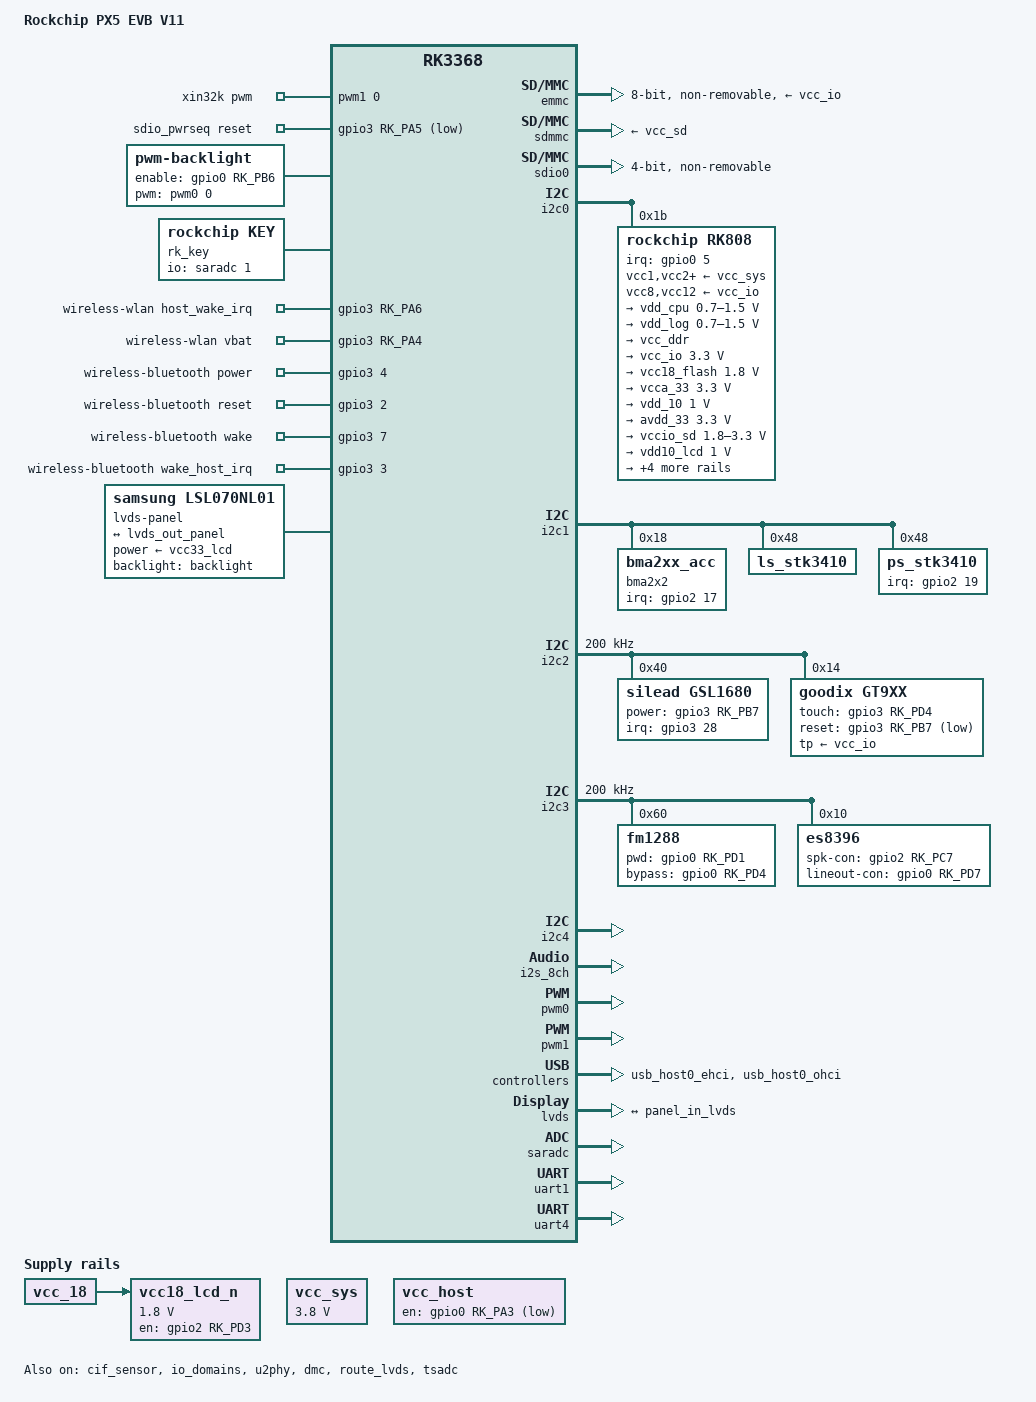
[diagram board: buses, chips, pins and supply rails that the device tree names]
/*
 * Copyright (c) 2017 Fuzhou Rockchip Electronics Co., Ltd
 *
 * This file is dual-licensed: you can use it either under the terms
 * of the GPL or the X11 license, at your option. Note that this dual
 * licensing only applies to this file, and not this project as a
 * whole.
 *
 *  a) This file is free software; you can redistribute it and/or
 *     modify it under the terms of the GNU General Public License as
 *     published by the Free Software Foundation; either version 2 of the
 *     License, or (at your option) any later version.
 *
 *     This file is distributed in the hope that it will be useful,
 *     but WITHOUT ANY WARRANTY; without even the implied warranty of
 *     MERCHANTABILITY or FITNESS FOR A PARTICULAR PURPOSE.  See the
 *     GNU General Public License for more details.
 *
 * Or, alternatively,
 *
 *  b) Permission is hereby granted, free of charge, to any person
 *     obtaining a copy of this software and associated documentation
 *     files (the "Software"), to deal in the Software without
 *     restriction, including without limitation the rights to use,
 *     copy, modify, merge, publish, distribute, sublicense, and/or
 *     sell copies of the Software, and to permit persons to whom the
 *     Software is furnished to do so, subject to the following
 *     conditions:
 *
 *     The above copyright notice and this permission notice shall be
 *     included in all copies or substantial portions of the Software.
 *
 *     THE SOFTWARE IS PROVIDED "AS IS", WITHOUT WARRANTY OF ANY KIND,
 *     EXPRESS OR IMPLIED, INCLUDING BUT NOT LIMITED TO THE WARRANTIES
 *     OF MERCHANTABILITY, FITNESS FOR A PARTICULAR PURPOSE AND
 *     NONINFRINGEMENT. IN NO EVENT SHALL THE AUTHORS OR COPYRIGHT
 *     HOLDERS BE LIABLE FOR ANY CLAIM, DAMAGES OR OTHER LIABILITY,
 *     WHETHER IN AN ACTION OF CONTRACT, TORT OR OTHERWISE, ARISING
 *     FROM, OUT OF OR IN CONNECTION WITH THE SOFTWARE OR THE USE OR
 *     OTHER DEALINGS IN THE SOFTWARE.
 */

/dts-v1/;
#include "rk3368.dtsi"
#include "rk3368-android.dtsi"
#include "rk3368-cif-sensor.dtsi"
#include <dt-bindings/pwm/pwm.h>
#include <dt-bindings/sensor-dev.h>

/ {
	model = "Rockchip PX5 EVB V11";
	compatible = "rockchip,px5-evb", "rockchip,px5", "rockchip,rk3368";

	chosen {
		bootargs = "earlycon=uart8250,mmio32,0xff1c0000";
	};

	fiq_debugger: fiq-debugger {
		compatible = "rockchip,fiq-debugger";
			rockchip,serial-id = <4>;
			rockchip,wake-irq = <0>;
			/* If enable uart uses irq instead of fiq */
			rockchip,irq-mode-enable = <0>;
			/* Only 115200 and 1500000 */
			rockchip,baudrate = <115200>;
			pinctrl-names = "default";
			pinctrl-0 = <&uart4_xfer>;
			interrupts = <GIC_SPI 154 IRQ_TYPE_LEVEL_HIGH 0>;
	};

	firmware {
		android {
			compatible = "android,firmware";
			fstab {
				compatible = "android,fstab";
				system {
					compatible = "android,system";
					dev = "/dev/block/platform/ff0f0000.dwmmc/by-name/system";
					type = "ext4";
					mnt_flags = "ro,barrier=1,inode_readahead_blks=8";
					fsmgr_flags = "wait";
				};
				vendor {
					compatible = "android,vendor";
					dev = "/dev/block/platform/ff0f0000.dwmmc/by-name/vendor";
					type = "ext4";
					mnt_flags = "ro,barrier=1,inode_readahead_blks=8";
					fsmgr_flags = "wait";
				};
			};
		};
	};

	xin32k: xin32k {
		status = "okay";
		compatible = "pwm-clock";
		#clock-cells = <0>;
		clock-frequency = <32768>;
		clock-output-names = "xin32k";
		pwms = <&pwm1 0 30518 0>; /* 1 / 30518 ns = 32.7675 KHz */
	};

	sdio_pwrseq: sdio-pwrseq {
		compatible = "mmc-pwrseq-simple";
		clocks = <&rk808 1>;
		clock-names = "ext_clock";
		pinctrl-names = "default";
		pinctrl-0 = <&wifi_enable_h>;

		/*
		 * On the module itself this is one of these (depending
		 * on the actual card populated):
		 * - SDIO_RESET_L_WL_REG_ON
		 * - PDN (power down when low)
		 */
		reset-gpios = <&gpio3 RK_PA5 GPIO_ACTIVE_LOW>; /* GPIO3_A5 */
	};

	es8396-sound {
		compatible = "simple-audio-card";
		simple-audio-card,format = "i2s";
		simple-audio-card,name = "rockchip,es8396-codec";
		simple-audio-card,mclk-fs = <256>;
		simple-audio-card,widgets =
			"Microphone", "Microphone Jack",
			"Line", "Microphone Headset",
			"Headphone", "Headphone Jack";
		simple-audio-card,routing =
			"MIC", "Microphone Jack",
			"DMIC", "Microphone Headset",
			"Headphone Jack", "LOUTP",
			"Headphone Jack", "ROUTN";
		simple-audio-card,cpu {
			sound-dai = <&i2s_8ch>;
		};
		simple-audio-card,codec {
			sound-dai = <&es8396>;
		};
	};

	backlight: backlight {
		compatible = "pwm-backlight";
		pwms = <&pwm0 0 25000 0>;
		brightness-levels = <
			  0   1   2   3   4   5   6   7
			  8   9  10  11  12  13  14  15
			 16  17  18  19  20  21  22  23
			 24  25  26  27  28  29  30  31
			 32  33  34  35  36  37  38  39
			 40  41  42  43  44  45  46  47
			 48  49  50  51  52  53  54  55
			 56  57  58  59  60  61  62  63
			 64  65  66  67  68  69  70  71
			 72  73  74  75  76  77  78  79
			 80  81  82  83  84  85  86  87
			 88  89  90  91  92  93  94  95
			 96  97  98  99 100 101 102 103
			104 105 106 107 108 109 110 111
			112 113 114 115 116 117 118 119
			120 121 122 123 124 125 126 127
			128 129 130 131 132 133 134 135
			136 137 138 139 140 141 142 143
			144 145 146 147 148 149 150 151
			152 153 154 155 156 157 158 159
			160 161 162 163 164 165 166 167
			168 169 170 171 172 173 174 175
			176 177 178 179 180 181 182 183
			184 185 186 187 188 189 190 191
			192 193 194 195 196 197 198 199
			200 201 202 203 204 205 206 207
			208 209 210 211 212 213 214 215
			216 217 218 219 220 221 222 223
			224 225 226 227 228 229 230 231
			232 233 234 235 236 237 238 239
			240 241 242 243 244 245 246 247
			248 249 250 251 252 253 254 255>;
		default-brightness-level = <200>;
		enable-gpios = <&gpio0 RK_PB6 GPIO_ACTIVE_HIGH>;
	};

	rk_key: rockchip-key {
		compatible = "rockchip,key";
		status = "okay";

		io-channels = <&saradc 1>;

		vol-up-key {
			linux,code = <115>;
			label = "volume up";
			rockchip,adc_value = <1>;
		};

		vol-down-key {
			linux,code = <114>;
			label = "volume down";
			rockchip,adc_value = <170>;
		};

		power-key {
			gpios = <&gpio0 RK_PA2 GPIO_ACTIVE_LOW>;
			linux,code = <116>;
			label = "power";
			gpio-key,wakeup;
		};

		menu-key {
			linux,code = <59>;
			label = "menu";
			rockchip,adc_value = <355>;
		};

		home-key {
			linux,code = <102>;
			label = "home";
			rockchip,adc_value = <746>;
		};

		back-key {
			linux,code = <158>;
			label = "back";
			rockchip,adc_value = <560>;
		};

		camera-key {
			linux,code = <212>;
			label = "camera";
			rockchip,adc_value = <450>;
		};
	};

	wireless-wlan {
		compatible = "wlan-platdata";

		wifi_chip_type = "rtl8723ds";
		sdio_vref = <1800>; /*1800mv or 3300mv*/
		WIFI,host_wake_irq = <&gpio3 RK_PA6 GPIO_ACTIVE_HIGH>;
		WIFI,vbat_gpio  = <&gpio3 RK_PA4 GPIO_ACTIVE_HIGH>;
		status = "okay";
	};

	wireless-bluetooth {
		compatible = "bluetooth-platdata";

		keep_bt_power_on;
		BT,power_gpio = <&gpio3 4 GPIO_ACTIVE_HIGH>; /* GPIO3_A4 */
		BT,reset_gpio = <&gpio3 2 GPIO_ACTIVE_HIGH>; /* GPIO3_A2 */
		BT,wake_gpio = <&gpio3 7 GPIO_ACTIVE_HIGH>; /* GPIO3_A7 */
		BT,wake_host_irq = <&gpio3 3 GPIO_ACTIVE_HIGH>; /* GPIO3_A3 */

		status = "okay";
	};

	vcc_sys: vcc-sys-regulator {
		compatible = "regulator-fixed";
		regulator-name = "vcc_sys";
		regulator-always-on;
		regulator-boot-on;
		regulator-min-microvolt = <3800000>;
		regulator-max-microvolt = <3800000>;
	};

	vcc_host: vcc-host {
		compatible = "regulator-fixed";
		enable-active-low;
		gpio = <&gpio0 RK_PA3 GPIO_ACTIVE_LOW>;
		pinctrl-names = "default";
		pinctrl-0 = <&host_vbus_drv>;
		regulator-name = "vcc_host";
		regulator-always-on;
	};

	vcc18_lcd_n: vcc18-lcd-n {
		compatible = "regulator-fixed";
		regulator-name = "vcc18_lcd_n";
		regulator-always-on;
		regulator-boot-on;
		regulator-min-microvolt = <1800000>;
		regulator-max-microvolt = <1800000>;
		gpio = <&gpio2 RK_PD3 GPIO_ACTIVE_HIGH>;
		enable-active-high;
		startup-delay-us = <70000>;
		vin-supply = <&vcc_18>;

		regulator-state-mem {
			regulator-off-in-suspend;
		};
	};

	lvds-panel {
		compatible = "samsung,lsl070nl01", "simple-panel";
		power-supply = <&vcc33_lcd>;
		backlight = <&backlight>;

		rockchip,data-mapping = "vesa";
		rockchip,data-width = <24>;
		rockchip,output = "lvds";
		status = "okay";

		display-timings {
			timing {
				clock-frequency = <48000000>;
				hactive = <1024>;
				vactive = <600>;
				hback-porch = <90>;
				hfront-porch = <90>;
				vback-porch = <10>;
				vfront-porch = <10>;
				hsync-len = <90>;
				vsync-len = <10>;
				hsync-active = <0>;
				vsync-active = <0>;
				de-active = <0>;
				pixelclk-active = <0>;
			};
		};

		port {
			panel_in_lvds: endpoint {
				remote-endpoint = <&lvds_out_panel>;
			};
		};
	};

	edp-panel {
		compatible = "lg,lp079qx1-sp0v", "simple-panel";
		power-supply = <&vcc33_lcd>;
		backlight = <&backlight>;
		prepare-delay-ms = <120>;
		status = "disabled";

		display-timings {
			timing {
				clock-frequency = <200000000>;
				hactive = <1536>;
				vactive = <2048>;
				hback-porch = <48>;
				hfront-porch = <12>;
				hsync-len = <16>;
				vback-porch = <8>;
				vfront-porch = <8>;
				vsync-len = <4>;
				hsync-active = <0>;
				vsync-active = <0>;
				de-active = <0>;
				pixelclk-active = <0>;
			};
		};

		port {
			panel_in_edp: endpoint {
				remote-endpoint = <&edp_out_panel>;
			};
		};
	};
};

&cif_sensor {
	status = "okay";
};

&cluster0_opp {
	rockchip,threshold-freq = <408000>;
	rockchip,freq-limit;
};

&cluster1_opp {
	rockchip,threshold-freq = <1416000>;
};

&cpu_l0 {
	cpu-supply = <&vdd_cpu>;
};

&cpu_l1 {
	cpu-supply = <&vdd_cpu>;
};

&cpu_l2 {
	cpu-supply = <&vdd_cpu>;
};

&cpu_l3 {
	cpu-supply = <&vdd_cpu>;
};

&cpu_b0 {
	cpu-supply = <&vdd_cpu>;
};

&cpu_b1 {
	cpu-supply = <&vdd_cpu>;
};

&cpu_b2 {
	cpu-supply = <&vdd_cpu>;
};

&cpu_b3 {
	cpu-supply = <&vdd_cpu>;
};

&gpu {
	logic-supply = <&vdd_log>;
};

&isp {
	pinctrl-names =
		"isp_mipi_fl_prefl", "isp_flash_as_gpio",
		"isp_flash_as_trigger_out";
	pinctrl-0 = <&isp_prelight>;
	pinctrl-1 = <&isp_flash_trigger_as_gpio>;
	pinctrl-2 = <&isp_flash_trigger>;
};

&rockchip_suspend {
	status = "okay";
	rockchip,sleep-mode-config = <
		(0
		| RKPM_SLP_ARMOFF
		| RKPM_SLP_PMU_PLLS_PWRDN
		| RKPM_SLP_PMU_PMUALIVE_32K
		| RKPM_SLP_SFT_PLLS_DEEP
		| RKPM_SLP_PMU_DIS_OSC
		| RKPM_SLP_SFT_PD_NBSCUS
		)
	>;
	rockchip,wakeup-config = <
		(0
		| RKPM_GPIO_WKUP_EN
		| RKPM_USB_WKUP_EN
		| RKPM_CLUSTER_L_WKUP_EN
		)
	>;
};

&emmc {
	status = "okay";
	bus-width = <8>;
	clock-frequency = <150000000>;
	keep-power-in-suspend;
	cap-mmc-highspeed;
	mmc-hs200-1_8v;
	supports-emmc;
	disable-wp;
	non-removable;
	num-slots = <1>;
	pinctrl-names = "default";
	pinctrl-0 = <&emmc_clk &emmc_cmd &emmc_bus8>;
	vmmc-supply = <&vcc_io>;
	vqmmc-supply = <&vcc18_flash>;
};

&sdmmc {
	status = "okay";
	clock-frequency = <37500000>;
	clock-freq-min-max = <400000 37500000>;
	supports-sd;
	cap-mmc-highspeed;
	cap-sd-highspeed;
	card-detect-delay = <200>;
	disable-wp;
	num-slots = <1>;
	pinctrl-names = "default";
	pinctrl-0 = <&sdmmc_clk &sdmmc_cmd &sdmmc_cd &sdmmc_bus4>;
	vmmc-supply = <&vcc_sd>;
	vqmmc-supply = <&vccio_sd>;
};

&sdio0 {
	status = "okay";
	clock-frequency = <50000000>;
	clock-freq-min-max = <200000 50000000>;
	supports-sdio;
	bus-width = <4>;
	disable-wp;
	cap-sd-highspeed;
	cap-sdio-irq;
	keep-power-in-suspend;
	mmc-pwrseq = <&sdio_pwrseq>;
	non-removable;
	num-slots = <1>;
	pinctrl-names = "default";
	pinctrl-0 = <&sdio0_bus4 &sdio0_cmd &sdio0_clk>;
	sd-uhs-sdr104;
};

&i2c0 {
	status = "okay";

	rk808: pmic@1b {
		compatible = "rockchip,rk808";
		reg = <0x1b>;
		interrupt-parent = <&gpio0>;
		interrupts = <5 IRQ_TYPE_LEVEL_LOW>;
		pinctrl-names = "default";
		pinctrl-0 = <&pmic_int>;
		rockchip,system-power-controller;
		wakeup-source;
		#clock-cells = <1>;
		clock-output-names = "rk808-clkout1", "rk808-clkout2";

		vcc1-supply = <&vcc_sys>;
		vcc2-supply = <&vcc_sys>;
		vcc3-supply = <&vcc_sys>;
		vcc4-supply = <&vcc_sys>;
		vcc6-supply = <&vcc_sys>;
		vcc7-supply = <&vcc_sys>;
		vcc8-supply = <&vcc_io>;
		vcc9-supply = <&vcc_sys>;
		vcc10-supply = <&vcc_sys>;
		vcc11-supply = <&vcc_sys>;
		vcc12-supply = <&vcc_io>;

		regulators {
			vdd_cpu: DCDC_REG1 {
				regulator-always-on;
				regulator-boot-on;
				regulator-min-microvolt = <700000>;
				regulator-max-microvolt = <1500000>;
				regulator-name = "vdd_cpu";
				regulator-ramp-delay = <6000>;
				regulator-state-mem {
					regulator-off-in-suspend;
				};
			};

			vdd_log: DCDC_REG2 {
				regulator-always-on;
				regulator-boot-on;
				regulator-min-microvolt = <700000>;
				regulator-max-microvolt = <1500000>;
				regulator-name = "vdd_log";
				regulator-ramp-delay = <6000>;
				regulator-state-mem {
					regulator-on-in-suspend;
					regulator-suspend-microvolt = <1000000>;
				};
			};

			vcc_ddr: DCDC_REG3 {
				regulator-always-on;
				regulator-boot-on;
				regulator-name = "vcc_ddr";
				regulator-state-mem {
					regulator-on-in-suspend;
				};
			};

			vcc_io: DCDC_REG4 {
				regulator-always-on;
				regulator-boot-on;
				regulator-min-microvolt = <3300000>;
				regulator-max-microvolt = <3300000>;
				regulator-name = "vcc_io";
				regulator-state-mem {
					regulator-on-in-suspend;
					regulator-suspend-microvolt = <3300000>;
				};
			};

			vcc18_flash: LDO_REG1 {
				regulator-always-on;
				regulator-boot-on;
				regulator-min-microvolt = <1800000>;
				regulator-max-microvolt = <1800000>;
				regulator-name = "vcc18_flash";
				regulator-state-mem {
					regulator-on-in-suspend;
					regulator-suspend-microvolt = <1800000>;
				};
			};

			vcca_33: LDO_REG2 {
				regulator-always-on;
				regulator-boot-on;
				regulator-min-microvolt = <3300000>;
				regulator-max-microvolt = <3300000>;
				regulator-name = "vcca_33";
				regulator-state-mem {
					regulator-off-in-suspend;
				};
			};

			vdd_10: LDO_REG3 {
				regulator-always-on;
				regulator-boot-on;
				regulator-min-microvolt = <1000000>;
				regulator-max-microvolt = <1000000>;
				regulator-name = "vdd_10";
				regulator-state-mem {
					regulator-on-in-suspend;
					regulator-suspend-microvolt = <1000000>;
				};
			};

			avdd_33: LDO_REG4 {
				regulator-always-on;
				regulator-boot-on;
				regulator-min-microvolt = <3300000>;
				regulator-max-microvolt = <3300000>;
				regulator-name = "avdd_33";
				regulator-state-mem {
					regulator-off-in-suspend;
				};
			};

			vccio_sd: LDO_REG5 {
				regulator-always-on;
				regulator-boot-on;
				regulator-min-microvolt = <1800000>;
				regulator-max-microvolt = <3300000>;
				regulator-name = "vccio_sd";
				regulator-state-mem {
					regulator-on-in-suspend;
					regulator-suspend-microvolt = <3300000>;
				};
			};

			vdd10_lcd: LDO_REG6 {
				regulator-always-on;
				regulator-boot-on;
				regulator-min-microvolt = <1000000>;
				regulator-max-microvolt = <1000000>;
				regulator-name = "vdd10_lcd";
				regulator-state-mem {
					regulator-off-in-suspend;
				};
			};

			vcc_18: LDO_REG7 {
				regulator-always-on;
				regulator-boot-on;
				regulator-min-microvolt = <1800000>;
				regulator-max-microvolt = <1800000>;
				regulator-name = "vcc_18";
				regulator-state-mem {
					regulator-off-in-suspend;
				};
			};

			vcc18_lcd: LDO_REG8 {
				regulator-always-on;
				regulator-boot-on;
				regulator-min-microvolt = <1800000>;
				regulator-max-microvolt = <1800000>;
				regulator-name = "vcc18_lcd";
				regulator-state-mem {
					regulator-off-in-suspend;
				};
			};

			vcc_sd: SWITCH_REG1 {
				regulator-boot-on;
				regulator-name = "vcc_sd";
				regulator-state-mem {
					regulator-off-in-suspend;
				};
			};

			vcc33_lcd: SWITCH_REG2 {
				regulator-boot-on;
				regulator-name = "vcc33_lcd";
				regulator-min-microvolt = <3300000>;
				regulator-max-microvolt = <3300000>;
				regulator-state-mem {
					regulator-off-in-suspend;
				};
			};
		};
	};
};

&i2c1 {
	status = "okay";

	bma2x2: bma250@18 {
		compatible = "bma2xx_acc";
		status = "okay";
		reg = <0x18>;
		type = <SENSOR_TYPE_ACCEL>;
		pinctrl-names = "default";
		pinctrl-0 = <&gpio2_c1>;
		irq-gpio = <&gpio2 17 IRQ_TYPE_LEVEL_LOW>;
		irq_enable = <1>;
		poll_delay_ms = <200>;
		layout = <6>;
		reprobe_en = <1>;/* this sensor need to be probe again */
	};

	ls_stk3410: light@48 {
		compatible = "ls_stk3410";
		status = "okay";
		reg = <0x48>;
		type = <SENSOR_TYPE_LIGHT>;
		irq_enable = <0>;
		als_threshold_high = <100>;
		als_threshold_low = <10>;
		als_ctrl_gain = <2>; /* 0:x1 1:x4 2:x16 3:x64 */
		poll_delay_ms = <100>;
	};

	ps_stk3410: proximity@48 {
		compatible = "ps_stk3410";
		status = "okay";
		reg = <0x48>;
		type = <SENSOR_TYPE_PROXIMITY>;
		pinctrl-names = "default";
		pinctrl-0 = <&gpio2_c3>;
		irq-gpio = <&gpio2 19 IRQ_TYPE_LEVEL_LOW>;
		irq_enable = <1>;
		ps_threshold_high = <0x200>;
		ps_threshold_low = <0x100>;
		ps_ctrl_gain = <3>; /* 0:x1 1:x4 2:x16 3:x64 */
		ps_led_current = <3>; /* 0:12.5mA 1:25mA 2:50mA 3:100mA */
		poll_delay_ms = <100>;
	};
};

&i2c2 {
	status = "okay";
	clock-frequency = <200000>;

	gsl1680: touchscreen@40 {
		compatible = "silead,gsl1680";
		reg = <0x40>;
		interrupt-parent = <&gpio3>;
		interrupts = <28 IRQ_TYPE_EDGE_FALLING>;
		power-gpios = <&gpio3 RK_PB7 GPIO_ACTIVE_HIGH>;
		touchscreen-size-x = <800>;
		touchscreen-size-y = <1280>;
		silead,max-fingers = <5>;
	};

	gt9xx: gt9xx@14 {
		compatible = "goodix,gt9xx";
		reg = <0x14>;
		touch-gpio = <&gpio3 RK_PD4 IRQ_TYPE_LEVEL_HIGH>;
		reset-gpio = <&gpio3 RK_PB7 GPIO_ACTIVE_LOW>;
		max-x = <1024>;
		max-y = <600>;
		tp-size = <910>;
		tp-supply = <&vcc_io>;
		status = "okay";
	};
};

&i2c3 {
	status = "okay";
	clock-frequency = <200000>;

	fm1288: fm1288@60{
		compatible = "fm1288";
		reg = <0x60>;
		pwd-gpios = <&gpio0 RK_PD1 GPIO_ACTIVE_HIGH>;
		bypass-gpios = <&gpio0 RK_PD4 GPIO_ACTIVE_HIGH>;
		status = "okay";
	};

	es8396: es8396@10 {
		status = "okay";
		#sound-dai-cells = <0>;
		compatible = "es8396";
		reg = <0x10>;
		clocks = <&cru SCLK_I2S_8CH_OUT>;
		clock-names = "mclk";
		spk-con-gpio = <&gpio2 RK_PC7 GPIO_ACTIVE_HIGH>;
		lineout-con-gpio = <&gpio0 RK_PD7 GPIO_ACTIVE_HIGH>;
		pinctrl-names = "default";
		pinctrl-0 = <&i2s_8ch_mclk>;
	};
};

&i2c4 {
	status = "okay";
};

&i2s_8ch {
	status = "okay";
	rockchip,i2s-broken-burst-len;
	rockchip,playback-channels = <8>;
	rockchip,capture-channels = <2>;
	#sound-dai-cells = <0>;
	pinctrl-names = "default";
	pinctrl-0 = <&i2s_8ch_bus>;
};

&io_domains {
	status = "okay";
	dvp-supply = <&vcc_18>;
	audio-supply = <&vcc_io>;
	gpio30-supply = <&vcc_io>;
	gpio1830-supply = <&vcc_io>;
	sdcard-supply = <&vccio_sd>;
	wifi-supply = <&vcc_io>;
};

&pmu_io_domains {
	status = "okay";
	pmu-supply = <&vcc_io>;
	vop-supply = <&vcca_33>;
};

&pwm0 {
	status = "okay";
};

&pwm1 {
	status = "okay";
};

&u2phy {
	status = "okay";

	u2phy_host: host-port {
		phy-supply = <&vcc_host>;
		status = "okay";
	};
};

&usb_host0_ehci {
	status = "okay";
};

&usb_host0_ohci {
	status = "okay";
};

&dmc {
	vop-dclk-mode = <1>;
	center-supply = <&vdd_log>;
	status = "okay";
};

&dwc_control_usb {
	otg_drv_gpio = <&gpio0 RK_PA4 GPIO_ACTIVE_LOW>;
};

&dsi {
	status = "disabled";

	panel@0 {
		compatible = "kingdisplay,kd080d34-40ni-b6", "simple-panel-dsi";
		reg = <0>;
		power-supply = <&vcc33_lcd>;
		backlight = <&backlight>;
		reset-gpios = <&gpio3 RK_PB5 GPIO_ACTIVE_LOW>;
		prepare-delay-ms = <20>;
		reset-delay-ms = <20>;
		init-delay-ms = <20>;
		enable-delay-ms = <20>;
		disable-delay-ms = <20>;
		unprepare-delay-ms = <20>;

		dsi,flags = <(MIPI_DSI_MODE_VIDEO | MIPI_DSI_MODE_VIDEO_BURST |
			      MIPI_DSI_MODE_LPM | MIPI_DSI_MODE_EOT_PACKET)>;
		dsi,format = <MIPI_DSI_FMT_RGB888>;
		dsi,lanes = <4>;

		panel-init-sequence = [
			15 00 02 e0 00
			15 00 02 e1 93
			15 00 02 e2 65
			15 00 02 e3 f8
			15 00 02 80 03
			15 00 02 e0 04
			15 00 02 2d 03
			15 00 02 e0 01
			15 00 02 00 00
			15 00 02 01 6f
			15 00 02 03 00
			15 00 02 04 6f
			15 00 02 17 00
			15 00 02 18 d7
			15 00 02 19 05
			15 00 02 1a 00
			15 00 02 1b d7
			15 00 02 1c 05
			15 00 02 1f 79
			15 00 02 20 2d
			15 00 02 21 2d
			15 00 02 22 4f
			15 00 02 26 f1
			15 00 02 37 09
			15 00 02 38 04
			15 00 02 39 08
			15 00 02 3a 12
			15 00 02 3c 78
			15 00 02 3e 80
			15 00 02 3f 80
			15 00 02 40 06
			15 00 02 41 a0
			15 00 02 55 0f
			15 00 02 56 01
			15 00 02 57 a8
			15 00 02 58 0a
			15 00 02 59 2a
			15 00 02 5a 37
			15 00 02 5b 19
			15 00 02 5d 70
			15 00 02 5e 50
			15 00 02 5f 3f
			15 00 02 60 31
			15 00 02 61 2d
			15 00 02 62 1d
			15 00 02 63 22
			15 00 02 64 0c
			15 00 02 65 25
			15 00 02 66 24
			15 00 02 67 24
			15 00 02 68 41
			15 00 02 69 2f
			15 00 02 6a 36
			15 00 02 6b 28
			15 00 02 6c 26
			15 00 02 6d 1c
			15 00 02 6e 08
			15 00 02 6f 02
			15 00 02 70 70
			15 00 02 71 50
			15 00 02 72 3f
			15 00 02 73 31
			15 00 02 74 2d
			15 00 02 75 1d
			15 00 02 76 22
			15 00 02 77 0c
			15 00 02 78 25
			15 00 02 79 24
			15 00 02 7a 24
			15 00 02 7b 41
			15 00 02 7c 2f
			15 00 02 7d 36
			15 00 02 7e 28
			15 00 02 7f 26
			15 00 02 80 1c
			15 00 02 81 08
			15 00 02 82 02
			15 00 02 e0 02
			15 00 02 00 00
			15 00 02 01 04
			15 00 02 02 06
			15 00 02 03 08
			15 00 02 04 0a
			15 00 02 05 0c
			15 00 02 06 0e
			15 00 02 07 17
			15 00 02 08 37
			15 00 02 09 1f
			15 00 02 0a 10
			15 00 02 0b 1f
			15 00 02 0c 1f
			15 00 02 0d 1f
			15 00 02 0e 1f
			15 00 02 0f 1f
			15 00 02 10 1f
			15 00 02 11 1f
			15 00 02 12 1f
			15 00 02 13 12
			15 00 02 14 1f
			15 00 02 15 1f
			15 00 02 16 01
			15 00 02 17 05
			15 00 02 18 07
			15 00 02 19 09
			15 00 02 1a 0b
			15 00 02 1b 0d
			15 00 02 1c 0f
			15 00 02 1d 17
			15 00 02 1e 37
			15 00 02 1f 1f
			15 00 02 20 11
			15 00 02 21 1f
			15 00 02 22 1f
			15 00 02 23 1f
			15 00 02 24 1f
			15 00 02 25 1f
			15 00 02 26 1f
			15 00 02 27 1f
			15 00 02 28 1f
			15 00 02 29 13
			15 00 02 2a 1f
			15 00 02 2b 1f
			15 00 02 2c 11
			15 00 02 2d 0f
			15 00 02 2e 00
			15 00 02 2f 0b
			15 00 02 30 09
			15 00 02 31 07
			15 00 02 32 05
			15 00 02 33 37
			15 00 02 34 17
			15 00 02 35 1f
			15 00 02 36 01
			15 00 02 37 1f
			15 00 02 38 1f
			15 00 02 39 1f
			15 00 02 3a 1f
			15 00 02 3b 1f
			15 00 02 3c 1f
			15 00 02 3d 1f
			15 00 02 3e 1f
			15 00 02 3f 13
			15 00 02 40 1f
			15 00 02 41 1f
			15 00 02 42 10
			15 00 02 43 0e
			15 00 02 44 0c
			15 00 02 45 0a
			15 00 02 46 08
			15 00 02 47 06
			15 00 02 48 04
			15 00 02 49 37
			15 00 02 4a 17
			15 00 02 4b 1f
			15 00 02 4c 00
			15 00 02 4d 1f
			15 00 02 4e 1f
			15 00 02 4f 1f
			15 00 02 50 1f
			15 00 02 51 1f
			15 00 02 52 1f
			15 00 02 53 1f
			15 00 02 54 1f
			15 00 02 55 12
			15 00 02 56 1f
			15 00 02 57 1f
			15 00 02 58 10
			15 00 02 59 00
			15 00 02 5a 00
			15 00 02 5b 10
			15 00 02 5c 07
			15 00 02 5d 30
			15 00 02 5e 00
			15 00 02 5f 00
			15 00 02 60 30
			15 00 02 61 03
			15 00 02 62 04
			15 00 02 63 03
			15 00 02 64 6a
			15 00 02 65 75
			15 00 02 66 0d
			15 00 02 67 b3
			15 00 02 68 09
			15 00 02 69 06
			15 00 02 6a 6a
			15 00 02 6b 04
			15 00 02 6c 00
			15 00 02 6d 04
			15 00 02 6e 04
			15 00 02 6f 88
			15 00 02 70 00
			15 00 02 71 00
			15 00 02 72 06
			15 00 02 73 7b
			15 00 02 74 00
			15 00 02 75 bc
			15 00 02 76 00
			15 00 02 77 0d
			15 00 02 78 2c
			15 00 02 79 00
			15 00 02 7a 00
			15 00 02 7b 00
			15 00 02 7c 00
			15 00 02 7d 03
			15 00 02 7e 7b
			15 00 02 e0 04
			15 00 02 2b 2b
			15 00 02 2e 44
			15 00 02 e0 00
			15 00 02 e6 02
			15 00 02 e7 02
			05 78 01 11
			05 14 01 29
		];

		panel-exit-sequence = [
			05 00 01 28
			05 78 01 10
		];

		display-timings {
			timing {
				clock-frequency = <74000000>;
				hactive = <800>;
				hfront-porch = <68>;
				hsync-len = <18>;
				hback-porch = <68>;
				vactive = <1280>;
				vfront-porch = <20>;
				vsync-len = <4>;
				vback-porch = <10>;
				hsync-active = <0>;
				vsync-active = <0>;
				de-active = <0>;
				pixelclk-active = <0>;
			};
		};
	};
};

&mipi_dphy {
	status = "disabled";
};

&route_dsi {
	status = "disabled";
};

&lvds {
	status = "okay";

	ports {
		port@1 {
			reg = <1>;

			lvds_out_panel: endpoint {
				remote-endpoint = <&panel_in_lvds>;
			};
		};
	};
};

&route_lvds {
	status = "okay";
};

&edp {
	force-hpd;
	status = "disabled";

	ports {
		port@1 {
			reg = <1>;

			edp_out_panel: endpoint {
				remote-endpoint = <&panel_in_edp>;
			};
		};
	};
};

&edp_phy {
	status = "disabled";
};

&route_edp {
	status = "disabled";
};

&mailbox {
	status = "okay";
};

&mailbox_scpi {
	status = "okay";
};

&saradc {
	status = "okay";
};

&thermal_zones {
	status = "okay";
};

&tsadc {
	tsadc-supply = <&vdd_cpu>;
	status = "okay";
};

&uart1 {
	pinctrl-names = "default";
	pinctrl-0 = <&uart1_xfer &uart1_cts>;
	status = "okay";
};

&uart2 {
	status = "disabled";
};

&uart4 {
	status = "okay";
};

&pinctrl {
	pmic {
		pmic_int: pmic-int {
			rockchip,pins = <RK_GPIO0 RK_PA5 RK_FUNC_GPIO &pcfg_pull_up>;
		};
	};

	dc_det {
		dc_irq_gpio: dc-irq-gpio {
			rockchip,pins = <RK_GPIO0 RK_PC1 RK_FUNC_GPIO &pcfg_pull_up>;
		};
	};

	sdio-pwrseq {
		wifi_enable_h: wifi-enable-h {
			rockchip,pins = <RK_GPIO3 RK_PA5 RK_FUNC_GPIO &pcfg_pull_none>;
		};
	};

	usb2 {
		host_vbus_drv: host-vbus-drv {
			rockchip,pins = <RK_GPIO0 RK_PA3 RK_FUNC_GPIO &pcfg_pull_none>;
		};
	};

	wireless-bluetooth {
		uart0_rts_gpio: uart0-rts-gpio {
			rockchip,pins = <RK_GPIO2 RK_PD3 RK_FUNC_GPIO &pcfg_pull_none>;
		};
	};

	gpio0_gpio {
		gpio0_c7: gpio0-c7 {
			rockchip,pins = <0 RK_PC7 RK_FUNC_GPIO  &pcfg_pull_down>;
		};
		gpio0_a3: gpio0-a3 {
			rockchip,pins = <0 RK_PA3 RK_FUNC_3 &pcfg_pull_none>;
		};
		gpio0_c2: gpio0-c2 {
			rockchip,pins = <0 RK_PC2 RK_FUNC_GPIO &pcfg_pull_down>;
		};
		gpio0_c3: gpio0-c3 {
			rockchip,pins = <0 RK_PC4 RK_FUNC_GPIO &pcfg_pull_up>;
		};
		gpio0_c1: gpio0-c1 {
			rockchip,pins = <0 RK_PC1 RK_FUNC_GPIO &pcfg_pull_up>;
		};
		gpio2_c1: gpio2-c1 {
			rockchip,pins = <2 RK_PC1 RK_FUNC_GPIO &pcfg_pull_up>;
		};
		gpio2_c3: gpio2-c3 {
			rockchip,pins = <2 RK_PC3 RK_FUNC_GPIO &pcfg_pull_up>;
		};

		gpio3_b1: gpio3-b1 {
			rockchip,pins = <3 RK_PB1 RK_FUNC_GPIO &pcfg_pull_up>;
		};

		gpio3_b2: gpio3-b2 {
			rockchip,pins = <3 RK_PB2 RK_FUNC_GPIO &pcfg_pull_up>;
		};
	};
	i2s {
		i2s_8ch_bus: i2s-8ch-bus {
			rockchip,pins = <2 12 RK_FUNC_1 &pcfg_pull_none>,
					<2 13 RK_FUNC_1 &pcfg_pull_none>,
					<2 14 RK_FUNC_1 &pcfg_pull_none>,
					<2 15 RK_FUNC_1 &pcfg_pull_none>,
					<2 16 RK_FUNC_1 &pcfg_pull_none>,
					<2 18 RK_FUNC_1 &pcfg_pull_none>;
		};
	};
};
